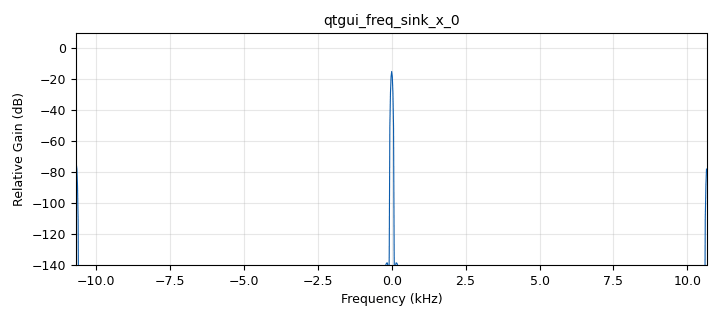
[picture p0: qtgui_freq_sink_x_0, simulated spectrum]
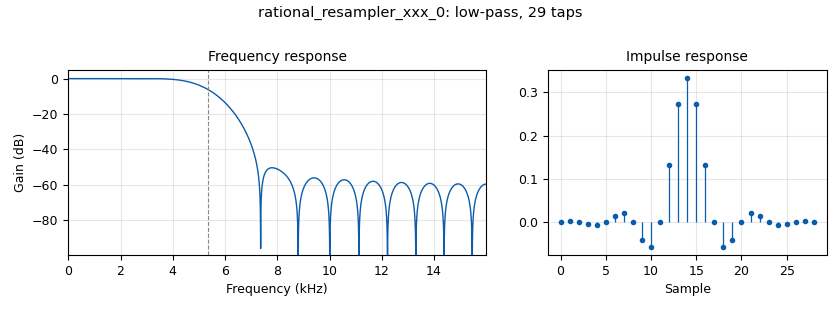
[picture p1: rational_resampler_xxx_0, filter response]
options:
  parameters:
    generate_options: qt_gui
    id: decimation
    output_language: python
    title: decimation
  states: {}

blocks:
- name: decimation_rate
  id: variable
  parameters:
    value: '3'
  states: {}
- name: frequency
  id: variable_qtgui_range
  parameters:
    orient: Qt.Horizontal
    start: '-samp_rate/2'
    step: '1'
    stop: samp_rate/2
    value: '0'
  states: {}
- name: interpolation_rate
  id: variable
  parameters:
    value: '2'
  states: {}
- name: lowPassTaps
  id: variable_low_pass_filter_taps
  parameters:
    cutoff_freq: samp_rate/(decimation_rate*2)
    gain: '1.0'
    samp_rate: samp_rate
    width: samp_rate/(decimation_rate*4)
    win: firdes.WIN_HAMMING
  states: {}
- name: samp_rate
  id: variable
  parameters:
    value: '32000'
  states: {}
- name: samp_rate_resampled
  id: variable
  parameters:
    value: samp_rate*interpolation_rate/decimation_rate
  states: {}
- name: analog_sig_source_x_0
  id: analog_sig_source_x
  parameters:
    amp: '1'
    freq: frequency
    offset: '0'
    phase: '0'
    samp_rate: samp_rate
    type: complex
    waveform: analog.GR_COS_WAVE
  states: {}
- name: blocks_throttle_0
  id: blocks_throttle
  parameters:
    samples_per_second: samp_rate_resampled
    type: complex
  states: {}
- name: qtgui_freq_sink_x_0
  id: qtgui_freq_sink_x
  parameters:
    bw: samp_rate_resampled
    fc: '0'
    fftsize: '1024'
    type: complex
    wintype: firdes.WIN_BLACKMAN_hARRIS
  states: {}
- name: rational_resampler_xxx_0
  id: rational_resampler_xxx
  parameters:
    decim: decimation_rate
    interp: interpolation_rate
    taps: lowPassTaps
    type: ccc
  states: {}

connections:
- [analog_sig_source_x_0, '0', rational_resampler_xxx_0, '0']
- [blocks_throttle_0, '0', qtgui_freq_sink_x_0, '0']
- [rational_resampler_xxx_0, '0', blocks_throttle_0, '0']

metadata:
  file_format: 1
